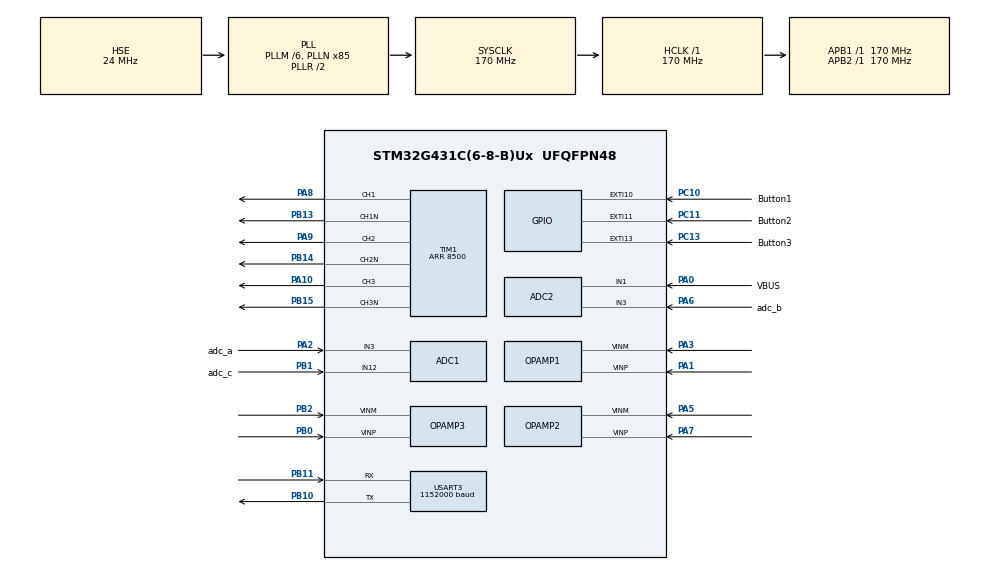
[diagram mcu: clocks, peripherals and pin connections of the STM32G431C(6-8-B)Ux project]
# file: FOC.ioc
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ADC1.EnableInjectedConversion=ENABLE
ADC1.EnableRegularConversion=DISABLE
ADC1.ExternalTrigInjecConv=ADC_EXTERNALTRIGINJEC_T1_CC4
ADC1.InjNumberOfConversion=2
ADC1.InjectedChannel-2\#ChannelInjectedConversion=ADC_CHANNEL_3
ADC1.InjectedChannel-3\#ChannelInjectedConversion=ADC_CHANNEL_12
ADC1.InjectedOffsetNumber-2\#ChannelInjectedConversion=ADC_OFFSET_NONE
ADC1.InjectedOffsetNumber-3\#ChannelInjectedConversion=ADC_OFFSET_NONE
ADC1.InjectedRank-2\#ChannelInjectedConversion=1
ADC1.InjectedRank-3\#ChannelInjectedConversion=2
ADC1.InjectedSamplingTime-2\#ChannelInjectedConversion=ADC_SAMPLETIME_2CYCLES_5
ADC1.InjectedSamplingTime-3\#ChannelInjectedConversion=ADC_SAMPLETIME_2CYCLES_5
ADC1.Mode=ADC_DUALMODE_INTERL
ADC1.Rank1_Channel=ADC_CHANNEL_3
ADC1.Rank2_Channel=ADC_CHANNEL_12
ADC1.TwoSamplingDelay=ADC_TWOSAMPLINGDELAY_5CYCLES
ADC1.master=1
ADC2.Channel-1\#ChannelRegularConversion=ADC_CHANNEL_1
ADC2.DMAContinuousRequests=ENABLE
ADC2.EnableInjectedConversion=ENABLE
ADC2.EnableInjectedOversampling=DISABLE
ADC2.InjNumberOfConversion=1
ADC2.InjectedChannel-2\#ChannelInjectedConversion=ADC_CHANNEL_3
ADC2.InjectedOffsetNumber-2\#ChannelInjectedConversion=ADC_OFFSET_NONE
ADC2.InjectedRank-2\#ChannelInjectedConversion=1
ADC2.InjectedSamplingTime-2\#ChannelInjectedConversion=ADC_SAMPLETIME_2CYCLES_5
ADC2.Mode=ADC_DUALMODE_INTERL
ADC2.NbrOfConversionFlag=1
ADC2.OffsetNumber-1\#ChannelRegularConversion=ADC_OFFSET_NONE
ADC2.OversamplingMode=DISABLE
ADC2.Rank-1\#ChannelRegularConversion=1
ADC2.Rank1_Channel=ADC_CHANNEL_3
ADC2.SamplingTime-1\#ChannelRegularConversion=ADC_SAMPLETIME_47CYCLES_5
ADC2.TwoSamplingDelay=ADC_TWOSAMPLINGDELAY_5CYCLES
Dma.ADC2.0.Direction=DMA_PERIPH_TO_MEMORY
Dma.ADC2.0.EventEnable=DISABLE
Dma.ADC2.0.Instance=DMA1_Channel1
Dma.ADC2.0.MemDataAlignment=DMA_MDATAALIGN_HALFWORD
Dma.ADC2.0.MemInc=DMA_MINC_ENABLE
Dma.ADC2.0.Mode=DMA_CIRCULAR
Dma.ADC2.0.PeriphDataAlignment=DMA_PDATAALIGN_HALFWORD
Dma.ADC2.0.PeriphInc=DMA_PINC_DISABLE
Dma.ADC2.0.Polarity=HAL_DMAMUX_REQ_GEN_RISING
Dma.ADC2.0.Priority=DMA_PRIORITY_LOW
Dma.ADC2.0.RequestNumber=1
Dma.ADC2.0.SignalID=NONE
Dma.ADC2.0.SyncEnable=DISABLE
Dma.ADC2.0.SyncPolarity=HAL_DMAMUX_SYNC_NO_EVENT
Dma.ADC2.0.SyncRequestNumber=1
Dma.ADC2.0.SyncSignalID=NONE
Dma.Request0=ADC2
Mcu.Family=STM32G4
Mcu.Name=STM32G431C(6-8-B)Ux
Mcu.Package=UFQFPN48
NVIC.ADC1_2_IRQn=true\:1\:0\:true\:false\:true\:true\:true\:true
NVIC.DMA1_Channel1_IRQn=true\:2\:0\:true\:false\:true\:false\:true\:true
NVIC.PriorityGroup=NVIC_PRIORITYGROUP_4
PA0.GPIO_Label=VBUS
PA0.Mode=IN1-Single-Ended
PA0.Signal=ADC2_IN1
PA1.Mode=Standalone
PA1.Signal=OPAMP1_VINP
PA10.Signal=S_TIM1_CH3
PA13.Mode=Serial_Wire
PA13.Signal=SYS_JTMS-SWDIO
PA14.Mode=Serial_Wire
PA14.Signal=SYS_JTCK-SWCLK
PA2.GPIO_Label=adc_a
PA2.Signal=SharedAnalog_PA2
PA3.Mode=Standalone
PA3.Signal=OPAMP1_VINM
PA5.Mode=Standalone
PA5.Signal=OPAMP2_VINM
PA6.GPIO_Label=adc_b
PA6.Signal=SharedAnalog_PA6
PA7.Mode=Standalone
PA7.Signal=OPAMP2_VINP
PA8.Signal=S_TIM1_CH1
PA9.Signal=S_TIM1_CH2
PB0.Mode=Standalone
PB0.Signal=OPAMP3_VINP
PB1.GPIO_Label=adc_c
PB1.Signal=SharedAnalog_PB1
PB10.Mode=Asynchronous
PB10.Signal=USART3_TX
PB11.Mode=Asynchronous
PB11.Signal=USART3_RX
PB13.Mode=PWM Generation1 CH1 CH1N
PB13.Signal=TIM1_CH1N
PB14.Mode=PWM Generation2 CH2 CH2N
PB14.Signal=TIM1_CH2N
PB15.Mode=PWM Generation3 CH3 CH3N
PB15.Signal=TIM1_CH3N
PB2.Mode=Standalone
PB2.Signal=OPAMP3_VINM
PC10.GPIO_Label=Button1
PC10.Signal=GPXTI10
PC11.GPIO_Label=Button2
PC11.Signal=GPXTI11
PC13.GPIO_Label=Button3
PC13.Signal=GPXTI13
PF0-OSC_IN.Mode=HSE-External-Oscillator
PF0-OSC_IN.Signal=RCC_OSC_IN
PF1-OSC_OUT.Mode=HSE-External-Oscillator
PF1-OSC_OUT.Signal=RCC_OSC_OUT
ProjectManager.HeapSize=0x200
ProjectManager.StackSize=0x400
ProjectManager.TargetToolchain=MDK-ARM V5.32
RCC.ADC12Freq_Value=170000000
RCC.AHBFreq_Value=170000000
RCC.APB1Freq_Value=170000000
RCC.APB1TimFreq_Value=170000000
RCC.APB2Freq_Value=170000000
RCC.APB2TimFreq_Value=170000000
RCC.CortexFreq_Value=170000000
RCC.EXTERNAL_CLOCK_VALUE=12288000
RCC.HCLKFreq_Value=170000000
RCC.HSE_VALUE=24000000
RCC.HSI48_VALUE=48000000
RCC.HSI_VALUE=16000000
RCC.LSE_VALUE=32768
RCC.PLLM=RCC_PLLM_DIV6
RCC.PLLN=85
RCC.PLLSourceVirtual=RCC_PLLSOURCE_HSE
RCC.SYSCLKFreq_VALUE=170000000
RCC.SYSCLKSource=RCC_SYSCLKSOURCE_PLLCLK
RCC.USBFreq_Value=170000000
RCC.VCOOutputFreq_Value=340000000
SH.S_TIM1_CH1.0=TIM1_CH1,PWM Generation1 CH1 CH1N
SH.S_TIM1_CH2.0=TIM1_CH2,PWM Generation2 CH2 CH2N
SH.S_TIM1_CH3.0=TIM1_CH3,PWM Generation3 CH3 CH3N
SH.SharedAnalog_PA2.0=ADC1_IN3,IN3-Single-Ended
SH.SharedAnalog_PA2.1=OPAMP1_VOUT,Standalone
SH.SharedAnalog_PA6.0=ADC2_IN3,IN3-Single-Ended
SH.SharedAnalog_PA6.1=OPAMP2_VOUT,Standalone
SH.SharedAnalog_PB1.0=ADC1_IN12,IN12-Single-Ended
SH.SharedAnalog_PB1.1=OPAMP3_VOUT,Standalone
STMicroelectronics.X-CUBE-ALGOBUILD.1.4.0.LibraryCcDSPOoLibraryJjDSPOoLibrary=true
TIM1.Channel-PWM\ Generation1\ CH1\ CH1N=TIM_CHANNEL_1
TIM1.Channel-PWM\ Generation2\ CH2\ CH2N=TIM_CHANNEL_2
TIM1.Channel-PWM\ Generation3\ CH3\ CH3N=TIM_CHANNEL_3
TIM1.Channel-PWM\ Generation4\ No\ Output=TIM_CHANNEL_4
TIM1.CounterMode=TIM_COUNTERMODE_CENTERALIGNED1
TIM1.DeadTime=120
TIM1.PeriodNoDither=8500
TIM1.PulseNoDither_4=8500-1
USART3.BaudRate=1152000
USART3.VirtualMode-Asynchronous=VM_ASYNC
VP_STMicroelectronics.X-CUBE-ALGOBUILD_VS_DSPOoLibraryJjLibrary_1.4.0_1.4.0.Mode=DSPOoLibraryJjLibrary
VP_SYS_VS_DBSignals.Mode=DisableDeadBatterySignals
VP_TIM1_VS_no_output4.Mode=PWM Generation4 No Output
board=custom

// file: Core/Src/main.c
/* USER CODE BEGIN Header */
/**
  ******************************************************************************
  * @file           : main.c
  * @brief          : Main program body
  ******************************************************************************
  * @attention
  *
  * Copyright (c) 2025 STMicroelectronics.
  * All rights reserved.
  *
  * This software is licensed under terms that can be found in the LICENSE file
  * in the root directory of this software component.
  * If no LICENSE file comes with this software, it is provided AS-IS.
  *
  ******************************************************************************
  */
/* USER CODE END Header */
#include "main.h"
#include "adc.h"
#include "dma.h"
#include "opamp.h"
#include "tim.h"
#include "usart.h"
#include "gpio.h"

/* USER CODE BEGIN Includes */

extern ExtX rtX;
extern ExtY rtY;
extern Current_Alpha_Beta_DEF Current_Ialpha_beta;
extern Current_DQ_DEF Current_Idq;
extern float I_uvw[3];

/* USER CODE END Includes */

void SystemClock_Config(void);

int main(void)
{

  /* USER CODE BEGIN 1 */
uint8_t key;
  /* USER CODE END 1 */

  /* MCU Configuration--------------------------------------------------------*/

  /* Reset of all peripherals, Initializes the Flash interface and the Systick. */
  HAL_Init();

  /* Configure the system clock */
  SystemClock_Config();

  /* Initialize all configured peripherals */
  MX_GPIO_Init();
  MX_DMA_Init();
  MX_ADC1_Init();
  MX_ADC2_Init();
  MX_OPAMP1_Init();
  MX_OPAMP2_Init();
  MX_OPAMP3_Init();
  MX_TIM1_Init();
  MX_USART3_UART_Init();
  /* USER CODE BEGIN 2 */

  Motor_Init();

  /* USER CODE END 2 */

  /* Infinite loop */
  while (1)
  {

    /* USER CODE BEGIN 3 */

      key = key_scan(0);
    if (key)
    {
        switch (key)
        {
            case BUTTON1_PRES:          // Motor Start/Stop
                HAL_GPIO_TogglePin(GPIOF, GPIO_PIN_10);
                break;

            case BUTTON2_PRES:          // Motor CW/CCW
                if(rtX.Dir == CW)
                    rtX.Dir = CCW;
                else if(rtX.Dir == CCW)
                    rtX.Dir = CW;
                break;

            case BUTTON3_PRES:          // Reserved for future use

                break;
            default :
                break;
        }
    }

    // 执行电机控制
//    Motor_Run();

    // 串口输出数据
    printf("%f,%f,%f,%f,%f,%f,%f\n",I_uvw[0],I_uvw[1],I_uvw[2],Current_Ialpha_beta.Ialpha,Current_Ialpha_beta.Ibeta,Current_Idq.Id,Current_Idq.Iq);

  }
  /* USER CODE END 3 */
}

void SystemClock_Config(void)
{
  RCC_OscInitTypeDef RCC_OscInitStruct = {0};
  RCC_ClkInitTypeDef RCC_ClkInitStruct = {0};

  /** Configure the main internal regulator output voltage
  */
  HAL_PWREx_ControlVoltageScaling(PWR_REGULATOR_VOLTAGE_SCALE1_BOOST);

  /** Initializes the RCC Oscillators according to the specified parameters
  * in the RCC_OscInitTypeDef structure.
  */
  RCC_OscInitStruct.OscillatorType = RCC_OSCILLATORTYPE_HSE;
  RCC_OscInitStruct.HSEState = RCC_HSE_ON;
  RCC_OscInitStruct.PLL.PLLState = RCC_PLL_ON;
  RCC_OscInitStruct.PLL.PLLSource = RCC_PLLSOURCE_HSE;
  RCC_OscInitStruct.PLL.PLLM = RCC_PLLM_DIV6;
  RCC_OscInitStruct.PLL.PLLN = 85;
  RCC_OscInitStruct.PLL.PLLP = RCC_PLLP_DIV2;
  RCC_OscInitStruct.PLL.PLLQ = RCC_PLLQ_DIV2;
  RCC_OscInitStruct.PLL.PLLR = RCC_PLLR_DIV2;
  if (HAL_RCC_OscConfig(&RCC_OscInitStruct) != HAL_OK)
  {
    Error_Handler();
  }

  /** Initializes the CPU, AHB and APB buses clocks
  */
  RCC_ClkInitStruct.ClockType = RCC_CLOCKTYPE_HCLK|RCC_CLOCKTYPE_SYSCLK
                              |RCC_CLOCKTYPE_PCLK1|RCC_CLOCKTYPE_PCLK2;
  RCC_ClkInitStruct.SYSCLKSource = RCC_SYSCLKSOURCE_PLLCLK;
  RCC_ClkInitStruct.AHBCLKDivider = RCC_SYSCLK_DIV1;
  RCC_ClkInitStruct.APB1CLKDivider = RCC_HCLK_DIV1;
  RCC_ClkInitStruct.APB2CLKDivider = RCC_HCLK_DIV1;

  if (HAL_RCC_ClockConfig(&RCC_ClkInitStruct, FLASH_LATENCY_4) != HAL_OK)
  {
    Error_Handler();
  }
}

void Error_Handler(void)
{
  __disable_irq();
  while (1)
  {
  }
}
